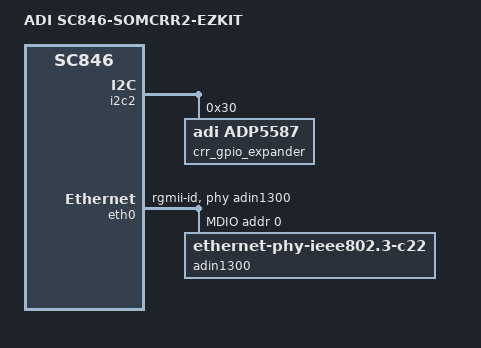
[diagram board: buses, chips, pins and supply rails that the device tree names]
// SPDX-License-Identifier: GPL-2.0-or-later
/*
 * (C) Copyright 2026 - Analog Devices, Inc.
 */

/dts-v1/;

#include "sc846-som.dts"

/ {
	model = "ADI SC846-SOMCRR2-EZKIT";
	compatible = "adi,sc846-som-ezkit", "adi,sc846-64";
};

&i2c2 {
	clocks = <&clk ADSP_SC846_CLK_CGU0_SCLK0>;
	status = "okay";

	crr_gpio_expander: adp5587@30 {
		compatible = "adi,adp5587";
		reg = <0x30>;
		gpio-controller;
		#gpio-cells = <2>;
		bootph-pre-ram;

		eth0-reset {
			gpio-hog;
			gpios = <0 GPIO_ACTIVE_HIGH>;
			output-low;
			line-name = "eth0-reset";
		};

		spdif1-en {
			gpio-hog;
			gpios = <1 GPIO_ACTIVE_LOW>;
			output-high;
			line-name = "spdif1-en";
		};

		adau1966-reset-som-a {
			gpio-hog;
			gpios = <2 GPIO_ACTIVE_LOW>;
			output-high;
			line-name = "adau1966-reset-som-a";
		};

		adau1979-a-reset-som-a {
			gpio-hog;
			gpios = <3 GPIO_ACTIVE_LOW>;
			output-high;
			line-name = "adau1979-a-reset-som-a";
		};

		adau1979-b-reset-som-a {
			gpio-hog;
			gpios = <4 GPIO_ACTIVE_LOW>;
			output-high;
			line-name = "adau1979-b-reset-som-a";
		};

		pushbutton-b-en {
			gpio-hog;
			gpios = <5 GPIO_ACTIVE_LOW>;
			output-high;
			line-name = "pushbutton-b-en";
		};

		spdif1-opt-en {
			gpio-hog;
			gpios = <6 GPIO_ACTIVE_LOW>;
			output-high;
			line-name = "spdif1-opt-en";
		};

		spdif1-coax-en {
			gpio-hog;
			gpios = <7 GPIO_ACTIVE_LOW>;
			output-high;
			line-name = "spdif1-coax-en";
		};

		adc1-route {
			gpio-hog;
			gpios = <8 GPIO_ACTIVE_HIGH>;
			output-low;
			line-name = "adc1-route";
		};

		adc2-route {
			gpio-hog;
			gpios = <9 GPIO_ACTIVE_HIGH>;
			output-low;
			line-name = "adc2-route";
		};

		dac-route {
			gpio-hog;
			gpios = <10 GPIO_ACTIVE_HIGH>;
			output-low;
			line-name = "dac-route";
		};

		dai1-route {
			gpio-hog;
			gpios = <11 GPIO_ACTIVE_HIGH>;
			output-low;
			line-name = "dai1-route";
		};

		qspi-route {
			gpio-hog;
			gpios = <12 GPIO_ACTIVE_HIGH>;
			output-low;
			line-name = "qspi-route";
		};

		a2b1-io1 {
			gpio-hog;
			gpios = <13 GPIO_ACTIVE_HIGH>;
			output-low;
			line-name = "a2b1-io1";
		};

		a2b1-io2 {
			gpio-hog;
			gpios = <14 GPIO_ACTIVE_HIGH>;
			output-low;
			line-name = "a2b1-io2";
		};

		a2b1-io7 {
			gpio-hog;
			gpios = <15 GPIO_ACTIVE_HIGH>;
			output-low;
			line-name = "a2b1-io7";
		};

		a2b2-io1 {
			gpio-hog;
			gpios = <16 GPIO_ACTIVE_HIGH>;
			output-low;
			line-name = "a2b2-io1";
		};

		a2b2-io2 {
			gpio-hog;
			gpios = <17 GPIO_ACTIVE_HIGH>;
			output-low;
			line-name = "a2b2-io2";
		};
	};
};

&eth0 {
	compatible = "adi,sc59x-dwmac-eqos";
	phy-handle = <&adin1300>;
	phy-mode = "rgmii-id";
	clocks = <&clk ADSP_SC846_CLK_CGU0_SCLK0>;
	status = "okay";

	mdio {
		compatible = "snps,dwmac-mdio";
		#address-cells = <1>;
		#size-cells = <0>;

		adin1300: ethernet-phy@0 {
			compatible = "ethernet-phy-ieee802.3-c22";
			reg = <0>;
		};
	};
};
